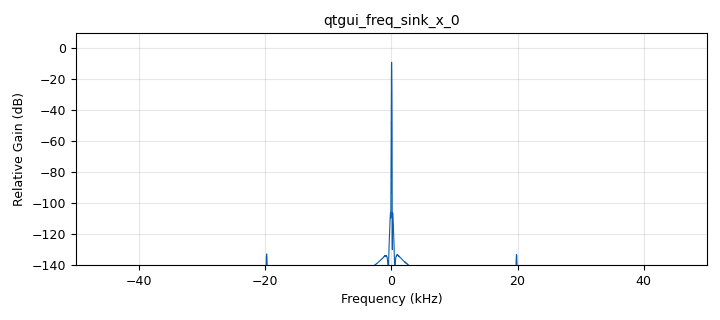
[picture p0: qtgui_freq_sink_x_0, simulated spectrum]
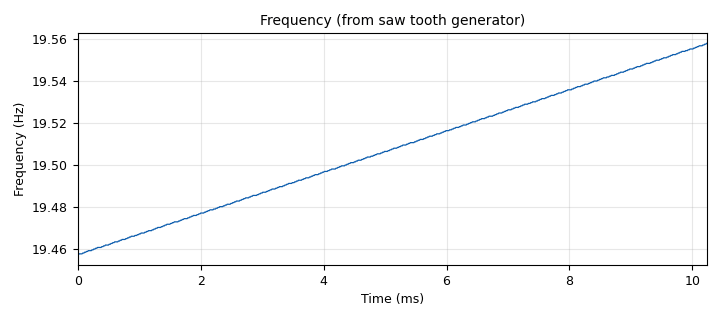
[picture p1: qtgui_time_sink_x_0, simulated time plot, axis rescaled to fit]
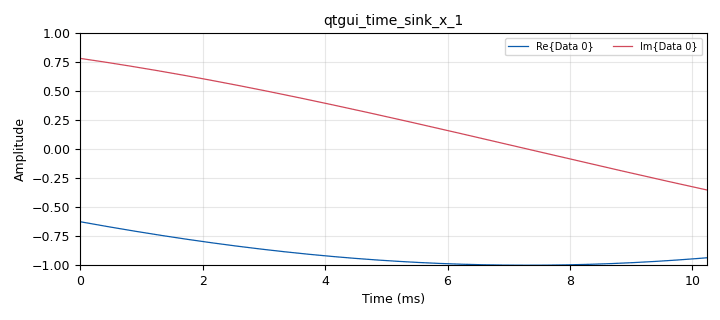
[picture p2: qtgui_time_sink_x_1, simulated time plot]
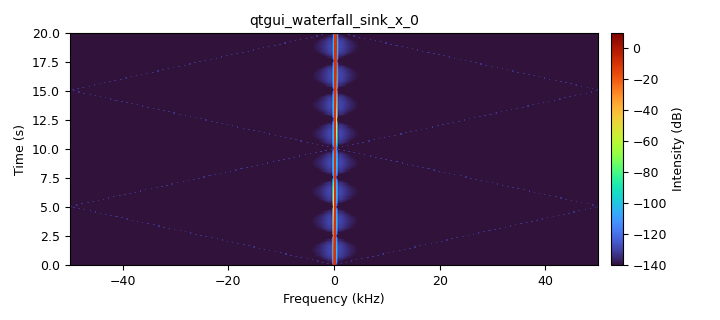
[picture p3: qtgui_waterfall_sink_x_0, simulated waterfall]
options:
  parameters:
    author: Daniel Estevez
    generate_options: qt_gui
    id: doppler_drift_simulation
    output_language: python
    title: Doppler drif simulation
  states: {}

blocks:
- name: drift_duration
  id: variable
  parameters:
    value: '1000'
  states: {}
- name: drift_rate
  id: variable
  parameters:
    value: '10'
  states: {}
- name: samp_rate
  id: variable
  parameters:
    value: '100000'
  states: {}
- name: analog_sig_source_x_0
  id: analog_sig_source_x
  parameters:
    amp: drift_rate * drift_duration
    freq: 1/drift_duration
    offset: '0'
    phase: '-np.pi'
    samp_rate: samp_rate
    type: float
    waveform: analog.GR_SAW_WAVE
  states: {}
- name: blocks_file_sink_0
  id: blocks_file_sink
  parameters:
    file: /tmp/doppler_drift.c64
    type: complex
  states: {state: disabled}
- name: blocks_throttle2_0
  id: blocks_throttle2
  parameters:
    samples_per_second: samp_rate
    type: float
  states: {}
- name: blocks_vco_c_0
  id: blocks_vco_c
  parameters:
    amplitude: '1'
    samp_rate: samp_rate
    sensitivity: 2 * np.pi
  states: {}
- name: import_0
  id: import
  parameters:
    imports: import numpy as np
  states: {}
- name: qtgui_freq_sink_x_0
  id: qtgui_freq_sink_x
  parameters:
    bw: samp_rate
    fc: '0'
    fftsize: '4096'
    gui_hint: 1,1,1,1
    type: complex
  states: {}
- name: qtgui_time_sink_x_0
  id: qtgui_time_sink_x
  parameters:
    gui_hint: 0,0,1,1
    name: Frequency (from saw tooth generator)
    size: '1024'
    srate: samp_rate
    type: float
    ylabel: Frequency (Hz)
    ymax: '1000'
  states: {}
- name: qtgui_time_sink_x_1
  id: qtgui_time_sink_x
  parameters:
    gui_hint: 0,1,1,1
    size: '1024'
    srate: samp_rate
    type: complex
  states: {}
- name: qtgui_waterfall_sink_x_0
  id: qtgui_waterfall_sink_x
  parameters:
    bw: samp_rate
    fc: '0'
    fftsize: '4096'
    gui_hint: 1,0,1,1
    type: complex
  states: {}

connections:
- [analog_sig_source_x_0, '0', blocks_throttle2_0, '0']
- [blocks_throttle2_0, '0', blocks_vco_c_0, '0']
- [blocks_throttle2_0, '0', qtgui_time_sink_x_0, '0']
- [blocks_vco_c_0, '0', blocks_file_sink_0, '0']
- [blocks_vco_c_0, '0', qtgui_freq_sink_x_0, '0']
- [blocks_vco_c_0, '0', qtgui_time_sink_x_1, '0']
- [blocks_vco_c_0, '0', qtgui_waterfall_sink_x_0, '0']

metadata:
  file_format: 1
  grc_version: 3.10.10.0
